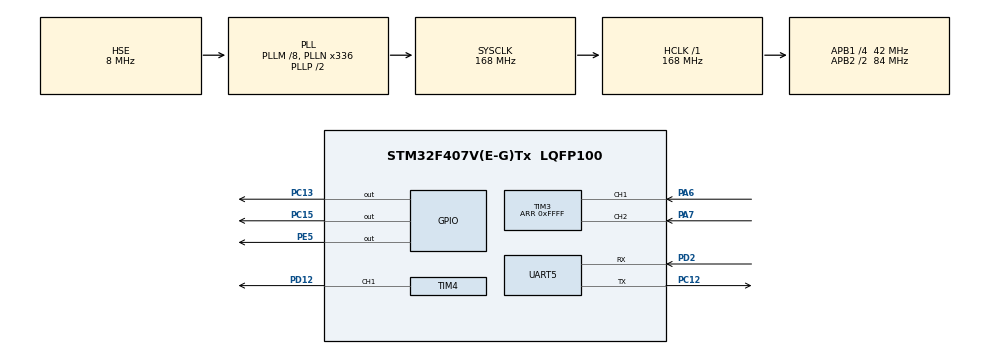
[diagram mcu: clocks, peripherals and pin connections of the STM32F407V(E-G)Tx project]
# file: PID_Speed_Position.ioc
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Mcu.Family=STM32F4
Mcu.Name=STM32F407V(E-G)Tx
Mcu.Package=LQFP100
NVIC.PriorityGroup=NVIC_PRIORITYGROUP_4
NVIC.TIM2_IRQn=true\:0\:0\:false\:false\:true\:true\:true
NVIC.TIM4_IRQn=true\:0\:0\:false\:false\:true\:true\:true
NVIC.UART5_IRQn=true\:0\:0\:false\:false\:true\:true\:true
PA6.GPIO_ModeDefaultPP=GPIO_MODE_AF_PP
PA6.GPIO_PuPd=GPIO_PULLUP
PA6.GPIO_Speed=GPIO_SPEED_FREQ_LOW
PA6.Signal=S_TIM3_CH1
PA7.GPIO_ModeDefaultPP=GPIO_MODE_AF_PP
PA7.GPIO_PuPd=GPIO_PULLUP
PA7.GPIO_Speed=GPIO_SPEED_FREQ_LOW
PA7.Signal=S_TIM3_CH2
PC12.Mode=Asynchronous
PC12.Signal=UART5_TX
PC13-ANTI_TAMP.Signal=GPIO_Output
PC15-OSC32_OUT.Signal=GPIO_Output
PD12.Signal=S_TIM4_CH1
PD2.Mode=Asynchronous
PD2.Signal=UART5_RX
PE5.Signal=GPIO_Output
PH0-OSC_IN.Mode=HSE-External-Oscillator
PH0-OSC_IN.Signal=RCC_OSC_IN
PH1-OSC_OUT.Mode=HSE-External-Oscillator
PH1-OSC_OUT.Signal=RCC_OSC_OUT
ProjectManager.HeapSize=0x200
ProjectManager.StackSize=0x400
ProjectManager.TargetToolchain=MDK-ARM V5
RCC.48MHZClocksFreq_Value=84000000
RCC.AHBFreq_Value=168000000
RCC.APB1CLKDivider=RCC_HCLK_DIV4
RCC.APB1Freq_Value=42000000
RCC.APB1TimFreq_Value=84000000
RCC.APB2CLKDivider=RCC_HCLK_DIV2
RCC.APB2Freq_Value=84000000
RCC.APB2TimFreq_Value=168000000
RCC.CortexFreq_Value=168000000
RCC.HCLKFreq_Value=168000000
RCC.HSE_VALUE=8000000
RCC.HSI_VALUE=16000000
RCC.LSE_VALUE=32768
RCC.PLLM=8
RCC.PLLN=336
RCC.PLLSourceVirtual=RCC_PLLSOURCE_HSE
RCC.SYSCLKFreq_VALUE=168000000
RCC.SYSCLKSource=RCC_SYSCLKSOURCE_PLLCLK
RCC.VCOOutputFreq_Value=336000000
SH.S_TIM3_CH1.0=TIM3_CH1,Encoder_Interface
SH.S_TIM3_CH2.0=TIM3_CH2,Encoder_Interface
SH.S_TIM4_CH1.0=TIM4_CH1,PWM Generation1 CH1
TIM2.Period=99
TIM2.Prescaler=8399
TIM3.EncoderMode=TIM_ENCODERMODE_TI12
TIM3.Period=0xFFFF
TIM4.Channel-PWM\ Generation1\ CH1=TIM_CHANNEL_1
TIM4.Period=999
TIM4.Prescaler=83
UART5.VirtualMode=Asynchronous
VP_TIM2_VS_ClockSourceINT.Mode=Internal
VP_TIM4_VS_ClockSourceINT.Mode=Internal
board=custom

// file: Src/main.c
/* USER CODE BEGIN Header */
/**
  ******************************************************************************
  * @file           : main.c
  * @brief          : Main program body
  ******************************************************************************
  * @attention
  *
  * <h2><center>&copy; Copyright (c) 2020 STMicroelectronics.
  * All rights reserved.</center></h2>
  *
  * This software component is licensed by ST under BSD 3-Clause license,
  * the "License"; You may not use this file except in compliance with the
  * License. You may obtain a copy of the License at:
  *                        opensource.org/licenses/BSD-3-Clause
  *
  ******************************************************************************
  */
/* USER CODE END Header */

#include "main.h"

/* USER CODE BEGIN Includes */
#include "stm32f4xx_hal.h"
#include "stm32f4xx_it.h"
/* USER CODE END Includes */

TIM_HandleTypeDef htim2;
TIM_HandleTypeDef htim3;
TIM_HandleTypeDef htim4;

UART_HandleTypeDef huart5;

/* USER CODE BEGIN PV */
 int pulse;
double rate;
char rateConvertString[15], degConvertString[15];
double T = 0.01;
double rate_mm;
signed long Error, pre_Error = 0, pre_pre_Error = 0;
double P_part, I_part, D_part, Kp, Kd, Ki;
double Output, pre_Output = 0;
double duty;
signed long speed;
signed long position;
float deg_mm,deg,vitri;
unsigned int RUN = 1, forward_reverse = 1, rLeft;
int rate_mm_int=0,deg_mm_int=0;

char Rx_data[20];
int dex1 = 0;
int dex2 = 0;
unsigned int checkData;
char dataSend[1];
char Rx_data_temp[20];
int i = 0, j = 0;
int Start_Process = 0;
int pre_pulse = 0;
int display = 0;
int start_data=0;
/* USER CODE END PV */

void SystemClock_Config(void);
static void MX_GPIO_Init(void);
static void MX_TIM2_Init(void);
static void MX_TIM3_Init(void);
static void MX_TIM4_Init(void);
static void MX_UART5_Init(void);
/* USER CODE BEGIN PFP */
void chieuquay(int forward_reverse)
{
    if(forward_reverse==1)
    {
        HAL_GPIO_WritePin(GPIOC,GPIO_PIN_15, GPIO_PIN_SET);
        HAL_GPIO_WritePin(GPIOC,GPIO_PIN_13, GPIO_PIN_RESET);
    }
    else if(forward_reverse==0)
    {
        HAL_GPIO_WritePin(GPIOC,GPIO_PIN_13, GPIO_PIN_SET);
        HAL_GPIO_WritePin(GPIOC,GPIO_PIN_15, GPIO_PIN_RESET);
    }
}
void HAL_UART_RxCpltCallback(UART_HandleTypeDef *huart)
{
	  HAL_UART_Receive_IT(&huart5,(uint8_t *)Rx_data,1);      //Nhan du lieu va luu vao Rx_data
    checkData=Rx_data[0];                                   //byte[0] cua Rx_data -> checkData
    if(checkData==37)                                       //check xem byte[0]== '%' (ki tu bat dau frame)
		{
		 dataSend[0]='A';                                       // Neu dung frame -> gui ACK len PC
		 HAL_UART_Transmit_IT(&huart5,(uint8_t *)dataSend,1);
		 start_data=1;
		}
	if (checkData==101)                // Ki tu ket thuc chuoi 'e'=101
    {
        i = 0;
        Start_Process=1;                 //   % data e
			  start_data=0;
    }
	 if(start_data==1)
	 {
		 if(checkData!=37)
			{
				Rx_data_temp[i]=checkData;   //luu vao mang Rx_data_temp[]
				i+=1;
			}
		}

}
void send_data(void)
{
    if (speed==1)
    {
        sprintf(rateConvertString,"%0.0f\r\n", rate);
			  while (dataSend[0]!=10)                      // ki tu xuong dong \r\n ='10'
        {
        dataSend[0]=(int)rateConvertString[j];
        j+=1;
        HAL_UART_Transmit(&huart5,(uint8_t *)dataSend,1,100);
        }
    }
    else
    {
			  deg=vitri*360/800;
        sprintf(degConvertString,"%0.0f\r\n",deg);
			  while(dataSend[0]!=10)
        {
        dataSend[0]=(int)degConvertString[j];
        j+=1;
        HAL_UART_Transmit(&huart5,(uint8_t *)dataSend,1,100);
        }
    }
    j=0;
    dataSend[0]=0;
}
void Stop()
{
  	rate_mm=0;
    deg_mm=0;
    RUN=0;
    position=0;
    speed=0;
    __HAL_TIM_SetCompare(&htim4,TIM_CHANNEL_1,0);
}

void convert()
{
    pulse =__HAL_TIM_GET_COUNTER(&htim3);
    if(RUN==0)
        htim3.Instance->CNT=0;
		if(speed==1)
		{
		    htim3.Instance->CNT=0;
		    rate=(float)pulse*60*100/800;
		}
    if(position==1)
    {
        rate=(float)(pulse-pre_pulse)*60*100/800;
        pre_pulse=pulse;
    }
}
void PID_Speed(int rate_mm,TIM_HandleTypeDef *htim)
{
   // Kp=0.001;
	//  Ki=0.8;
	//  Kd=0.01;
    Error=rate_mm-rate;

    P_part=Kp*(Error-pre_Error);
    I_part=0.5*Ki*T*(Error + pre_Error);
    D_part=Kd/T*(Error-2*pre_Error+pre_pre_Error);
    Output=Output+P_part+I_part+D_part;
	  pre_pre_Error=pre_Error;
    pre_Error=Error;

    if(RUN==0)
    {
      Output=0;
    }
    if(Output>=999)
       Output=999;
    if(Output<=0)
       Output=0;
    forward_reverse=1;
    chieuquay(forward_reverse);
    __HAL_TIM_SetCompare(&htim4,TIM_CHANNEL_1,Output);           //PWM
}

void PID_Position(int deg_mm,TIM_HandleTypeDef *htim)
{

 //  Kp=0.08;
 //  Ki=0.5;
 //  Kd=0.9;
  // 	Kp=0.1;
	//	Ki=2;
	//	Kd=0.03;
    vitri=pulse;
    Error=deg_mm-vitri;
    P_part=Kp*(Error-pre_Error);
    I_part=0.5*Ki*T*(Error+pre_Error);
    D_part=Kd/T*(Error-2*pre_Error+pre_pre_Error);
    Output=Output+P_part+I_part+D_part;

    pre_pre_Error=pre_Error;
    pre_Error=Error;
		if (Error==0)
			 Output=0;
		if(Error>0)
			 forward_reverse=1;
		else if(Error<0)
		   forward_reverse=0;

    if (Output>220)
        Output=220;
    if (Output<-220)
        Output=-220;
    chieuquay(forward_reverse);
    __HAL_TIM_SetCompare(&htim4,TIM_CHANNEL_1,Output);
}
/* USER CODE END PFP */

/* USER CODE BEGIN 0 */
void HAL_TIM_PeriodElapsedCallback(TIM_HandleTypeDef *htim)
{
    if (htim->Instance == htim2.Instance)
    {
       convert();
       display+=1;
		   if(RUN==1)
			 {
			    if(speed==1)
             PID_Speed(rate_mm,&htim3);
          else if(position==1)
             PID_Position(deg_mm,&htim3);
		   }
     }
}
/* USER CODE END 0 */

int main(void)
{

  /* MCU Configuration--------------------------------------------------------*/

  /* Reset of all peripherals, Initializes the Flash interface and the Systick. */
  HAL_Init();

  /* Configure the system clock */
  SystemClock_Config();

  /* Initialize all configured peripherals */
  MX_GPIO_Init();
  MX_TIM2_Init();
  MX_TIM3_Init();
  MX_TIM4_Init();
  MX_UART5_Init();
  /* USER CODE BEGIN 2 */
  HAL_TIM_Encoder_Start(&htim3, TIM_CHANNEL_1 | TIM_CHANNEL_2);
  HAL_TIM_Base_Start_IT(&htim2);
  HAL_TIM_PWM_Start(&htim4, TIM_CHANNEL_1);

	speed = 0;
  position = 0;
  deg_mm = 0;
  rate_mm = 0;
  rate = 0;
  HAL_UART_Receive_IT(&huart5,(uint8_t *)Rx_data,1);
  HAL_UART_Transmit_IT(&huart5,(uint8_t *)dataSend,1);
  /* USER CODE END 2 */

  /* Infinite loop */
  /* USER CODE BEGIN WHILE */
  while (1)
  {
    if (Start_Process==1)
    {
      Start_Process=0;
			switch(Rx_data_temp[0])                // Kiem tra  Rx_data_temp[0]== lenh yeu cau
			{
				case 73:                             // 'I'=73
					if (speed==1)
					{
            rate_mm+=100;
            PID_Speed(rate_mm,&htim3);
					}
					else if(position==1)
					{
					  deg_mm+=60;
					  PID_Position(deg_mm,&htim3);
					}
				break;
				case 68:                               // 'D'=68
					if (speed==1)
					{
            rate_mm-=100;
            PID_Speed(rate_mm,&htim3);
					}
					else if(position==1)
					{
						deg_mm-=60;
						PID_Position(deg_mm,&htim3);
					}
				break;
				case 115:                               // 's'=115
						Stop();
            RUN=1;
            position=0;
            speed=1;
            rate_mm=(Rx_data_temp[1]-48)*1000+(Rx_data_temp[2]-48)*100+(Rx_data_temp[3]-48)*10+(Rx_data_temp[4]-48);

				    Kp=(Rx_data_temp[5]-48)+(Rx_data_temp[7]-48)*0.1+(Rx_data_temp[8]-48)*0.01+(Rx_data_temp[9]-48)*0.001;
				    Ki=(Rx_data_temp[10]-48)+(Rx_data_temp[12]-48)*0.1+(Rx_data_temp[13]-48)*0.01+(Rx_data_temp[14]-48)*0.001;
				    Kd=(Rx_data_temp[15]-48)+(Rx_data_temp[17]-48)*0.1+(Rx_data_temp[18]-48)*0.01+(Rx_data_temp[19]-48)*0.001;

            PID_Speed(rate_mm,&htim3);
				break;
				case 112:                               // 'p'=112
						Stop();
            RUN=1;
            position=1;
            speed=0;
            deg_mm=(Rx_data_temp[1]-48)*1000+(Rx_data_temp[2]-48)*100+(Rx_data_temp[3]-48)*10+(Rx_data_temp[4]-48);

				    Kp=(Rx_data_temp[5]-48)+(Rx_data_temp[7]-48)*0.1+(Rx_data_temp[8]-48)*0.01+(Rx_data_temp[9]-48)*0.001;
				    Ki=(Rx_data_temp[10]-48)+(Rx_data_temp[12]-48)*0.1+(Rx_data_temp[13]-48)*0.01+(Rx_data_temp[14]-48)*0.001;
				    Kd=(Rx_data_temp[15]-48)+(Rx_data_temp[17]-48)*0.1+(Rx_data_temp[18]-48)*0.01+(Rx_data_temp[19]-48)*0.001;

            PID_Position(deg_mm, &htim3);
				break;
				case 83:                               // 'S'=83
						Stop();
				break;

			}

     }

    if (display>=10)                         // 5*10=50ms gui du lieu ve PC
    {
      send_data();
      display = 0;
    }
    /* USER CODE END WHILE */

  }
}

void SystemClock_Config(void)
{
  RCC_OscInitTypeDef RCC_OscInitStruct = {0};
  RCC_ClkInitTypeDef RCC_ClkInitStruct = {0};

  /** Configure the main internal regulator output voltage
  */
  __HAL_RCC_PWR_CLK_ENABLE();
  __HAL_PWR_VOLTAGESCALING_CONFIG(PWR_REGULATOR_VOLTAGE_SCALE1);
  /** Initializes the CPU, AHB and APB busses clocks
  */
  RCC_OscInitStruct.OscillatorType = RCC_OSCILLATORTYPE_HSE;
  RCC_OscInitStruct.HSEState = RCC_HSE_ON;
  RCC_OscInitStruct.PLL.PLLState = RCC_PLL_ON;
  RCC_OscInitStruct.PLL.PLLSource = RCC_PLLSOURCE_HSE;
  RCC_OscInitStruct.PLL.PLLM = 8;
  RCC_OscInitStruct.PLL.PLLN = 336;
  RCC_OscInitStruct.PLL.PLLP = RCC_PLLP_DIV2;
  RCC_OscInitStruct.PLL.PLLQ = 4;
  if (HAL_RCC_OscConfig(&RCC_OscInitStruct) != HAL_OK)
  {
    Error_Handler();
  }
  /** Initializes the CPU, AHB and APB busses clocks
  */
  RCC_ClkInitStruct.ClockType = RCC_CLOCKTYPE_HCLK|RCC_CLOCKTYPE_SYSCLK
                              |RCC_CLOCKTYPE_PCLK1|RCC_CLOCKTYPE_PCLK2;
  RCC_ClkInitStruct.SYSCLKSource = RCC_SYSCLKSOURCE_PLLCLK;
  RCC_ClkInitStruct.AHBCLKDivider = RCC_SYSCLK_DIV1;
  RCC_ClkInitStruct.APB1CLKDivider = RCC_HCLK_DIV4;
  RCC_ClkInitStruct.APB2CLKDivider = RCC_HCLK_DIV2;

  if (HAL_RCC_ClockConfig(&RCC_ClkInitStruct, FLASH_LATENCY_5) != HAL_OK)
  {
    Error_Handler();
  }
}

static void MX_TIM2_Init(void)
{

  TIM_ClockConfigTypeDef sClockSourceConfig = {0};
  TIM_MasterConfigTypeDef sMasterConfig = {0};

  htim2.Instance = TIM2;
  htim2.Init.Prescaler = 8399;
  htim2.Init.CounterMode = TIM_COUNTERMODE_UP;
  htim2.Init.Period = 99;
  htim2.Init.ClockDivision = TIM_CLOCKDIVISION_DIV1;
  htim2.Init.AutoReloadPreload = TIM_AUTORELOAD_PRELOAD_DISABLE;
  if (HAL_TIM_Base_Init(&htim2) != HAL_OK)
  {
    Error_Handler();
  }
  sClockSourceConfig.ClockSource = TIM_CLOCKSOURCE_INTERNAL;
  if (HAL_TIM_ConfigClockSource(&htim2, &sClockSourceConfig) != HAL_OK)
  {
    Error_Handler();
  }
  sMasterConfig.MasterOutputTrigger = TIM_TRGO_RESET;
  sMasterConfig.MasterSlaveMode = TIM_MASTERSLAVEMODE_DISABLE;
  if (HAL_TIMEx_MasterConfigSynchronization(&htim2, &sMasterConfig) != HAL_OK)
  {
    Error_Handler();
  }

}

static void MX_TIM3_Init(void)
{

  TIM_Encoder_InitTypeDef sConfig = {0};
  TIM_MasterConfigTypeDef sMasterConfig = {0};

  htim3.Instance = TIM3;
  htim3.Init.Prescaler = 0;
  htim3.Init.CounterMode = TIM_COUNTERMODE_UP;
  htim3.Init.Period = 0xFFFF;
  htim3.Init.ClockDivision = TIM_CLOCKDIVISION_DIV1;
  htim3.Init.AutoReloadPreload = TIM_AUTORELOAD_PRELOAD_DISABLE;
  sConfig.EncoderMode = TIM_ENCODERMODE_TI12;
  sConfig.IC1Polarity = TIM_ICPOLARITY_RISING;
  sConfig.IC1Selection = TIM_ICSELECTION_DIRECTTI;
  sConfig.IC1Prescaler = TIM_ICPSC_DIV1;
  sConfig.IC1Filter = 0;
  sConfig.IC2Polarity = TIM_ICPOLARITY_RISING;
  sConfig.IC2Selection = TIM_ICSELECTION_DIRECTTI;
  sConfig.IC2Prescaler = TIM_ICPSC_DIV1;
  sConfig.IC2Filter = 0;
  if (HAL_TIM_Encoder_Init(&htim3, &sConfig) != HAL_OK)
  {
    Error_Handler();
  }
  sMasterConfig.MasterOutputTrigger = TIM_TRGO_RESET;
  sMasterConfig.MasterSlaveMode = TIM_MASTERSLAVEMODE_DISABLE;
  if (HAL_TIMEx_MasterConfigSynchronization(&htim3, &sMasterConfig) != HAL_OK)
  {
    Error_Handler();
  }

}

static void MX_TIM4_Init(void)
{

  TIM_ClockConfigTypeDef sClockSourceConfig = {0};
  TIM_MasterConfigTypeDef sMasterConfig = {0};
  TIM_OC_InitTypeDef sConfigOC = {0};

  htim4.Instance = TIM4;
  htim4.Init.Prescaler = 83;
  htim4.Init.CounterMode = TIM_COUNTERMODE_UP;
  htim4.Init.Period = 999;
  htim4.Init.ClockDivision = TIM_CLOCKDIVISION_DIV1;
  htim4.Init.AutoReloadPreload = TIM_AUTORELOAD_PRELOAD_DISABLE;
  if (HAL_TIM_Base_Init(&htim4) != HAL_OK)
  {
    Error_Handler();
  }
  sClockSourceConfig.ClockSource = TIM_CLOCKSOURCE_INTERNAL;
  if (HAL_TIM_ConfigClockSource(&htim4, &sClockSourceConfig) != HAL_OK)
  {
    Error_Handler();
  }
  if (HAL_TIM_PWM_Init(&htim4) != HAL_OK)
  {
    Error_Handler();
  }
  sMasterConfig.MasterOutputTrigger = TIM_TRGO_RESET;
  sMasterConfig.MasterSlaveMode = TIM_MASTERSLAVEMODE_DISABLE;
  if (HAL_TIMEx_MasterConfigSynchronization(&htim4, &sMasterConfig) != HAL_OK)
  {
    Error_Handler();
  }
  sConfigOC.OCMode = TIM_OCMODE_PWM1;
  sConfigOC.Pulse = 0;
  sConfigOC.OCPolarity = TIM_OCPOLARITY_HIGH;
  sConfigOC.OCFastMode = TIM_OCFAST_DISABLE;
  if (HAL_TIM_PWM_ConfigChannel(&htim4, &sConfigOC, TIM_CHANNEL_1) != HAL_OK)
  {
    Error_Handler();
  }
  HAL_TIM_MspPostInit(&htim4);

}

static void MX_UART5_Init(void)
{

  huart5.Instance = UART5;
  huart5.Init.BaudRate = 115200;
  huart5.Init.WordLength = UART_WORDLENGTH_8B;
  huart5.Init.StopBits = UART_STOPBITS_1;
  huart5.Init.Parity = UART_PARITY_NONE;
  huart5.Init.Mode = UART_MODE_TX_RX;
  huart5.Init.HwFlowCtl = UART_HWCONTROL_NONE;
  huart5.Init.OverSampling = UART_OVERSAMPLING_16;
  if (HAL_UART_Init(&huart5) != HAL_OK)
  {
    Error_Handler();
  }

}

static void MX_GPIO_Init(void)
{
  GPIO_InitTypeDef GPIO_InitStruct = {0};

  /* GPIO Ports Clock Enable */
  __HAL_RCC_GPIOE_CLK_ENABLE();
  __HAL_RCC_GPIOC_CLK_ENABLE();
  __HAL_RCC_GPIOH_CLK_ENABLE();
  __HAL_RCC_GPIOA_CLK_ENABLE();
  __HAL_RCC_GPIOD_CLK_ENABLE();

  /*Configure GPIO pin Output Level */
  HAL_GPIO_WritePin(GPIOE, GPIO_PIN_5, GPIO_PIN_RESET);

  /*Configure GPIO pin Output Level */
  HAL_GPIO_WritePin(GPIOC, GPIO_PIN_13|GPIO_PIN_15, GPIO_PIN_RESET);

  /*Configure GPIO pin : PE5 */
  GPIO_InitStruct.Pin = GPIO_PIN_5;
  GPIO_InitStruct.Mode = GPIO_MODE_OUTPUT_PP;
  GPIO_InitStruct.Pull = GPIO_NOPULL;
  GPIO_InitStruct.Speed = GPIO_SPEED_FREQ_LOW;
  HAL_GPIO_Init(GPIOE, &GPIO_InitStruct);

  /*Configure GPIO pins : PC13 PC15 */
  GPIO_InitStruct.Pin = GPIO_PIN_13|GPIO_PIN_15;
  GPIO_InitStruct.Mode = GPIO_MODE_OUTPUT_PP;
  GPIO_InitStruct.Pull = GPIO_NOPULL;
  GPIO_InitStruct.Speed = GPIO_SPEED_FREQ_LOW;
  HAL_GPIO_Init(GPIOC, &GPIO_InitStruct);

}

void Error_Handler(void)
{
}

/************************ (C) COPYRIGHT STMicroelectronics *****END OF FILE****/
